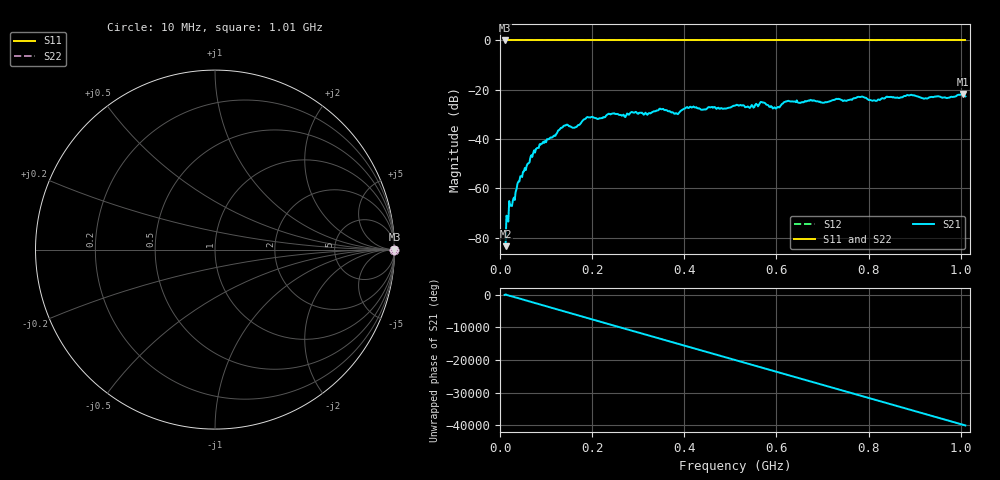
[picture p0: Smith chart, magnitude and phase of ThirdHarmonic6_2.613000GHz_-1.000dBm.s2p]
! 8/17/2025 5:44:07 AM
! C:\ANRITSUVNA\TEMP\TEMP.S2P
! CHANNEL.1
! TR.MEASUREMENT
! RAW.DATA
! RF.CORRECTION.OFF
! AVERAGING.OFF
! IF.BANDWIDTH: 5KHZ
! SWEEPTYPE:  FREQ.SWEEP(Linear)
! Reference Plane Port Info
! PORT:  PORT1  PORT2
! DISTANCE:  0  m  0  m
! TIME:  0  s  0  s
! PHASE.OFFSET:  0  deg.  0  deg.
! LOSS:  0  dB  0  dB
! REF.LOSS:  0  dB  0  dB
! REF.FREQ:  0  Hz  0  Hz
! Power Info
! POWER:  -20  dBm  -20  dBm
! EFF.POWER:  -20  dBm  -20  dBm
! SOURCE.ATTEN:  0  dB  0  dB
! TEST.ATTEN:  0  dB  0  dB
# GHZ S RI R 50.0
! FREQ.GHZ  S11RE  S11IM  S21RE  S21IM  S12RE  S12IM  S22RE  S22IM
!; PortSelection: Port_12
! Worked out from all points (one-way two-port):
!   501 points, 10 MHz to 1.01 GHz, reference 50 ohm
!   highest |S21| = -21.64 dB at 1.004 GHz (marker M1); lowest = -83.4 dB at 12 MHz (marker M2)
!   lowest |S11| = 0.0 dB at 10 MHz (marker M3)
!   |S11| at or under -10 dB: nowhere
!   |S22| runs from 0.0 to 0.0 dB; largest |S21 - S12| = 1.1
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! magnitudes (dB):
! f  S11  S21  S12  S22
! 10 MHz  0.0  -82.7  0.0  0.0
! 12 MHz  0.0  -83.4  0.0  0.0
! 18 MHz  0.0  -73.4  0.0  0.0
! 28 MHz  0.0  -64.7  0.0  0.0
! 42 MHz  0.0  -57.2  0.0  0.0
! 76 MHz  0.0  -45.5  0.0  0.0
! 136 MHz  0.0  -35.1  0.0  0.0
! 162 MHz  0.0  -35.3  0.0  0.0
! 178 MHz  0.0  -32.8  0.0  0.0
! 192 MHz  0.0  -31.2  0.0  0.0
! 344 MHz  0.0  -28.2  0.0  0.0
! 382 MHz  0.0  -29.4  0.0  0.0
! 410 MHz  0.0  -27.3  0.0  0.0
! 510 MHz  0.0  -26.4  0.0  0.0
! 540 MHz  0.0  -27.1  0.0  0.0
! 570 MHz  0.0  -25.1  0.0  0.0
! 596 MHz  0.0  -27.1  0.0  0.0
! 622 MHz  0.0  -24.7  0.0  0.0
! 678 MHz  0.0  -24.5  0.0  0.0
! 844 MHz  0.0  -22.9  0.0  0.0
! 1.004 GHz  0.0  -21.6  0.0  0.0
! 1.01 GHz  0.0  -22.7  0.0  0.0
